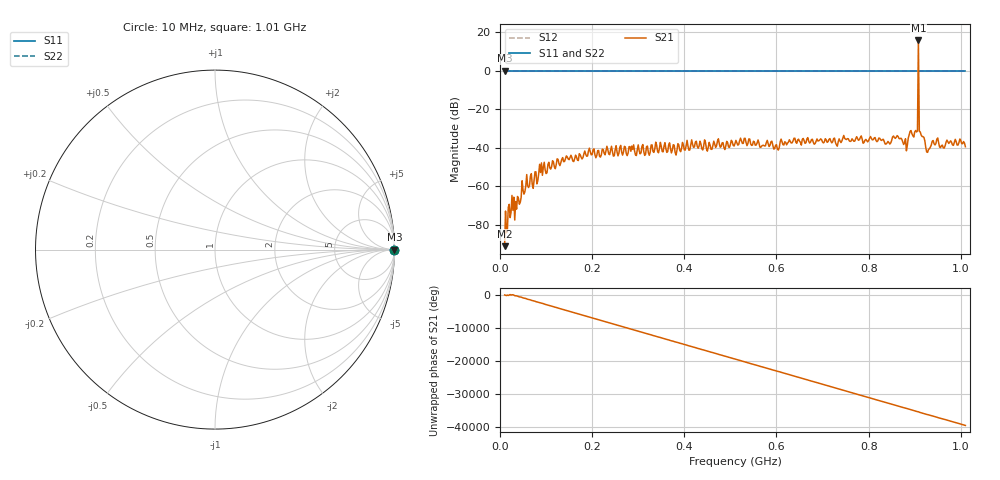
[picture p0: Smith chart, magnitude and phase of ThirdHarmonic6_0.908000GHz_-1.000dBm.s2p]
! 8/16/2025 5:44:36 AM
! C:\ANRITSUVNA\TEMP\TEMP.S2P
! CHANNEL.1
! TR.MEASUREMENT
! RAW.DATA
! RF.CORRECTION.OFF
! AVERAGING.OFF
! IF.BANDWIDTH: 5KHZ
! SWEEPTYPE:  FREQ.SWEEP(Linear)
! Reference Plane Port Info
! PORT:  PORT1  PORT2
! DISTANCE:  0  m  0  m
! TIME:  0  s  0  s
! PHASE.OFFSET:  0  deg.  0  deg.
! LOSS:  0  dB  0  dB
! REF.LOSS:  0  dB  0  dB
! REF.FREQ:  0  Hz  0  Hz
! Power Info
! POWER:  -20  dBm  -20  dBm
! EFF.POWER:  -20  dBm  -20  dBm
! SOURCE.ATTEN:  0  dB  0  dB
! TEST.ATTEN:  0  dB  0  dB
# GHZ S RI R 50.0
! FREQ.GHZ  S11RE  S11IM  S21RE  S21IM  S12RE  S12IM  S22RE  S22IM
!; PortSelection: Port_12
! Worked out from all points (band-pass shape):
!   501 points, 10 MHz to 1.01 GHz, reference 50 ohm
!   highest |S21| = 15.76 dB at 908 MHz (marker M1); lowest = -91.0 dB at 10 MHz (marker M2)
!   |S21| within 3 dB of the highest: 907.8723 MHz to 908.1273 MHz (255 kHz wide, 0.0281 % of centre)
!   lowest |S11| = 0.0 dB at 10 MHz (marker M3)
!   |S11| at or under -10 dB: nowhere
!   |S22| runs from 0.0 to 0.0 dB; largest |S21 - S12| = 5.1
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0.01  1 0  -1.96e-05 2.01e-05  1 0  1 0
0.022  1 0  -3.7e-05 -0.00015  1 0  1 0
0.032  1 0  1.4e-05 -0.000133  1 0  1 0
0.052  1 0  1.6e-05 -0.00063  1 0  1 0
0.09  1 0  -0.00389 -0.00118  1 0  1 0
0.178  1 0  -0.00514 -0.000285  1 0  1 0
0.344  1 0  0.00706 -0.00239  1 0  1 0
0.51  1 0  -0.012 0.0049  1 0  1 0
0.6  1 0  -0.00583 0.0106  1 0  1 0
0.678  1 0  -0.0113 -0.0123  1 0  1 0
0.844  1 0  0.0123 0.00607  1 0  1 0
0.858  1 0  -0.0175 -0.00213  1 0  1 0
0.88  1 0  0.0139 0.0102  1 0  1 0
0.89  1 0  0.026 -0.00629  1 0  1 0
0.902  1 0  -0.0263 -0.0102  1 0  1 0
0.904  1 0  -0.0104 0.0236  1 0  1 0
0.908  1 0  6.093 0.7461  1 0  1 0
0.912  1 0  -0.0177 0.0189  1 0  1 0
0.914  1 0  0.0144 0.016  1 0  1 0
0.928  1 0  -0.0052 -0.0056  1 0  1 0
0.948  1 0  -0.0159 0.00554  1 0  1 0
1.01  1 0  -0.0107 0.000224  1 0  1 0
